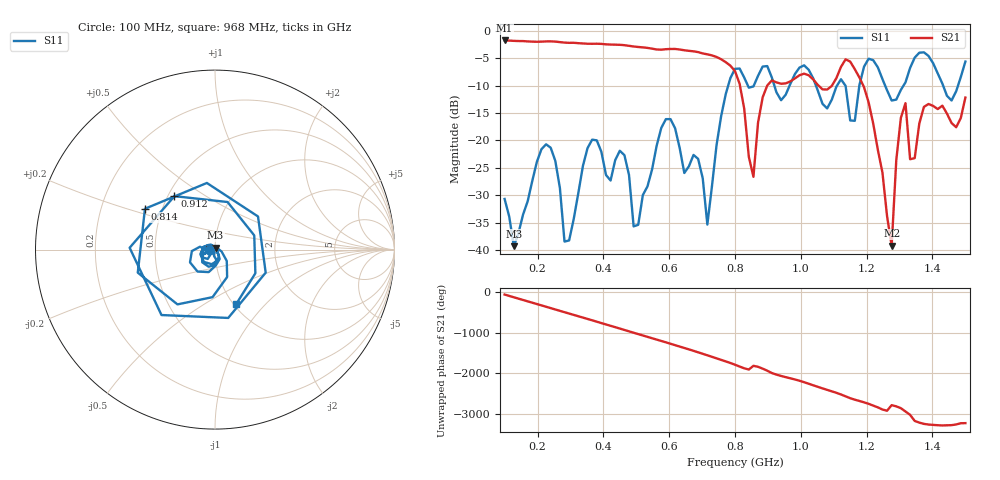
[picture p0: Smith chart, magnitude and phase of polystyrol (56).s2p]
! NanoVNA-App
! Date: 2025-09-26 09:42:19
! Start: 100MHz Stop: 1,5GHz Points: 101
! S-Parameter data: F S11 S21 S12 S22
# Hz S RI R 50
!  Frequency  S11_Real  S11_Imag  S21_Real  S21_Imag  S12_Real  S12_Imag  S22_Real  S22_Imag
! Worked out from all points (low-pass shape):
!   101 points, 100 MHz to 1.5 GHz, reference 50 ohm
!   highest |S21| = -1.79 dB at 100 MHz (marker M1); lowest = -39.2 dB at 1.276 GHz (marker M2)
!   |S21| within 3 dB of the highest: start of sweep to 743.5 MHz
!   lowest |S11| = -39.3 dB at 128 MHz (marker M3), VSWR 1.02, Z = 50.3 + j1.06 ohm
!   |S11| at or under -10 dB: start of sweep to 779.4 MHz; 1.046 GHz to 1.11 GHz (64.29 MHz wide, 5.96 % of centre); 1.256 GHz to 1.312 GHz (55.98 MHz wide, 4.36 % of centre) (the widest 3 of 7)
!   S12 and S22 are empty: the file has one direction only
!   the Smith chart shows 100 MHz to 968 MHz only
!   S11 on the Smith chart (normalised r, x): 100 MHz: 0.94, -0.01; 814 MHz: 0.40, +0.23; 912 MHz: 0.54, +0.37; 968 MHz: 1.02, -0.70
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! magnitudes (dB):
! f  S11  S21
! 100 MHz  -30.7  -1.8
! 128 MHz  -39.3  -1.9
! 212 MHz  -21.6  -2.0
! 282 MHz  -38.4  -2.2
! 338 MHz  -24.6  -2.3
! 464 MHz  -22.7  -2.6
! 506 MHz  -35.4  -3.0
! 576 MHz  -17.7  -3.5
! 688 MHz  -23.4  -3.9
! 716 MHz  -35.3  -4.3
! 800 MHz  -7.0  -7.4
! 814 MHz  -6.9  -9.7
! 856 MHz  -10.2  -26.6
! 912 MHz  -8.5  -9.1
! 968 MHz  -9.7  -9.3
! 1.038 GHz  -8.7  -8.9
! 1.164 GHz  -16.4  -7.0
! 1.192 GHz  -6.6  -10.3
! 1.276 GHz  -12.7  -39.2
! 1.318 GHz  -9.4  -13.2
! 1.332 GHz  -6.8  -23.4
! 1.5 GHz  -5.6  -12.2
